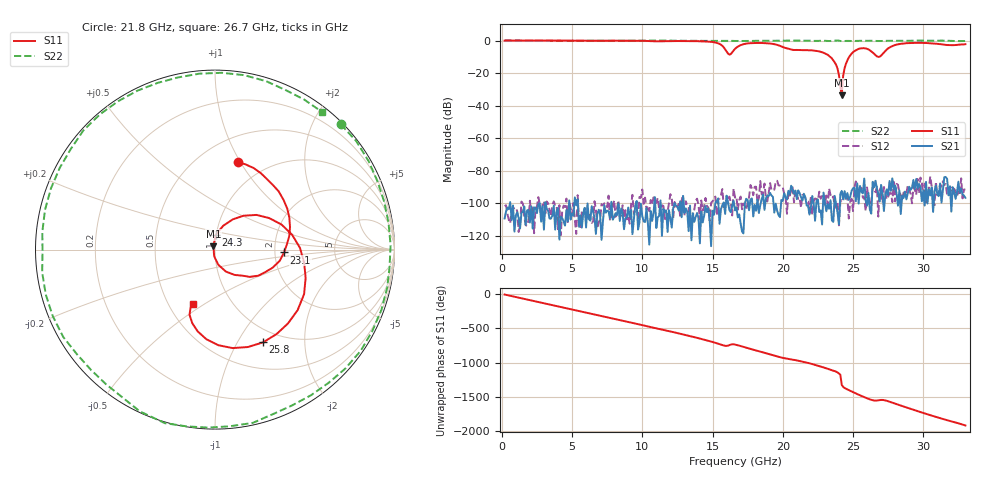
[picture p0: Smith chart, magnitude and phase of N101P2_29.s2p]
# GHZ S RI R 50
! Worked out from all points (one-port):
!   329 points, 200 MHz to 33 GHz, reference 50 ohm
!   lowest |S11| = -33.6 dB at 24.2 GHz (marker M1), VSWR 1.04, Z = 49.1 + j1.87 ohm
!   |S11| at or under -10 dB: 23.37 GHz to 24.73 GHz (1.363 GHz wide, 5.67 % of centre); 26.79201 GHz to 26.82598 GHz (33.98 MHz wide, 0.127 % of centre)
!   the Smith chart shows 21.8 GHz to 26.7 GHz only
!   S11 on the Smith chart (normalised r, x): 21.8 GHz: 0.75, +0.97; 23.1 GHz: 2.25, -0.09; 24.3 GHz: 0.99, +0.17; 25.8 GHz: 0.82, -1.29; 26.7 GHz: 0.66, -0.45
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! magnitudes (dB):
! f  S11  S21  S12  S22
! 200 MHz  0.0  -109.3  -101.7  0.0
! 5.7 GHz  -0.1  -115.0  -104.8  -0.1
! 11.2 GHz  -0.4  -107.8  -103.5  0.0
! 15.1 GHz  -1.0  -107.1  -97.6  -0.2
! 15.6 GHz  -2.6  -103.5  -95.1  -0.2
! 16.2 GHz  -8.6  -104.2  -95.9  -0.2
! 16.6 GHz  -5.1  -104.4  -96.5  -0.2
! 18.4 GHz  -1.5  -101.1  -86.3  -0.1
! 21.8 GHz  -6.0  -101.4  -98.9  -0.1
! 22.1 GHz  -6.1  -95.5  -107.3  -0.2
! 23.1 GHz  -8.3  -104.9  -95.2  -0.2
! 23.8 GHz  -14.9  -100.7  -102.0  0.0
! 24 GHz  -21.3  -113.1  -113.6  -0.1
! 24.2 GHz  -33.6  -92.4  -98.1  -0.3
! 24.3 GHz  -21.6  -97.6  -98.9  -0.3
! 24.5 GHz  -14.2  -97.3  -95.1  -0.2
! 24.8 GHz  -9.1  -96.0  -98.9  -0.3
! 25.8 GHz  -4.7  -84.8  -96.1  -0.1
! 26.7 GHz  -9.7  -91.0  -89.8  -0.3
! 27.6 GHz  -4.3  -86.3  -93.8  -0.2
! 29.1 GHz  -1.5  -91.8  -94.2  -0.1
! 33 GHz  -2.2  -96.7  -91.5  -0.3
